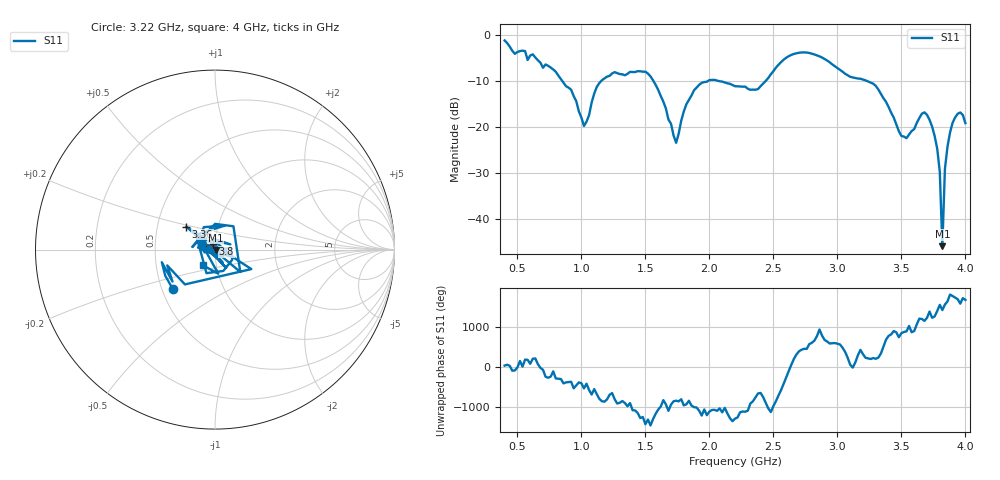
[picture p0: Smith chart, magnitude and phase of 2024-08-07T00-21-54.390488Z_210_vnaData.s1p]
!Created with skrf (http://scikit-rf.org).
# Hz S RI R 50.0
!freq ReS11 ImS11
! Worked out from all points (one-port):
!   181 points, 400 MHz to 4 GHz, reference 50 ohm
!   lowest |S11| = -45.9 dB at 3.82 GHz (marker M1), VSWR 1.01, Z = 50.5 - j0.181 ohm
!   |S11| at or under -10 dB: 1.563 GHz to 1.988 GHz (424.5 MHz wide, 23.9 % of centre); 2.075 GHz to 2.439 GHz (364 MHz wide, 16.1 % of centre); 3.233 GHz to end of sweep (the widest 3 of 4)
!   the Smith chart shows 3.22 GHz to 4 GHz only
!   S11 on the Smith chart (normalised r, x): 3.22 GHz: 0.57, -0.28; 3.36 GHz: 0.70, +0.19; 3.8 GHz: 0.98, +0.06; 4 GHz: 0.86, -0.15
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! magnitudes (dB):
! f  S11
! 400 MHz  -1.2
! 860 MHz  -10.4
! 920 MHz  -11.9
! 1.02 GHz  -19.7
! 1.14 GHz  -10.4
! 1.3 GHz  -8.5
! 1.52 GHz  -8.4
! 1.64 GHz  -14.4
! 1.74 GHz  -23.4
! 1.76 GHz  -21.4
! 1.82 GHz  -15.0
! 1.92 GHz  -10.8
! 2.2 GHz  -11.1
! 2.38 GHz  -11.7
! 2.66 GHz  -4.1
! 3.1 GHz  -9.1
! 3.22 GHz  -9.8
! 3.36 GHz  -13.7
! 3.5 GHz  -21.9
! 3.56 GHz  -21.6
! 3.7 GHz  -17.3
! 3.76 GHz  -21.9
! 3.8 GHz  -29.7
! 3.82 GHz  -45.9
! 3.84 GHz  -29.1
! 3.88 GHz  -21.2
! 3.94 GHz  -17.1
! 4 GHz  -19.1
